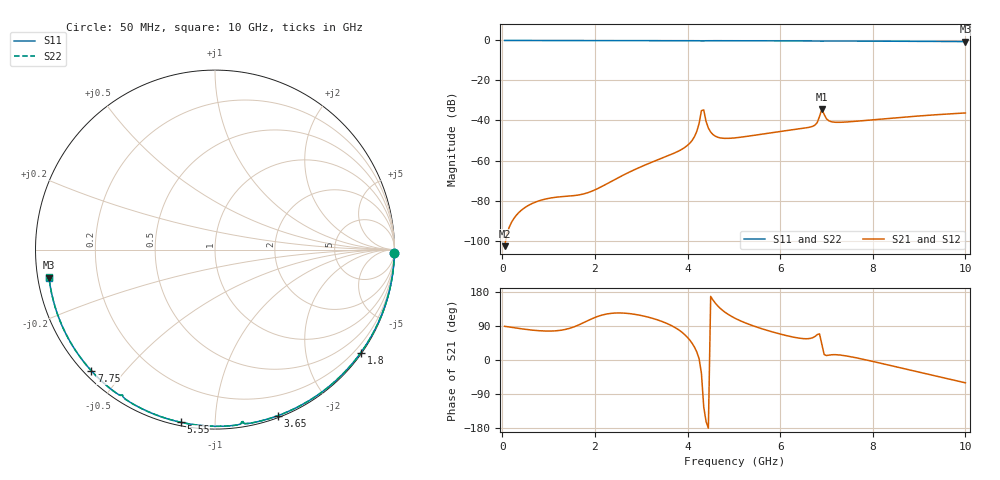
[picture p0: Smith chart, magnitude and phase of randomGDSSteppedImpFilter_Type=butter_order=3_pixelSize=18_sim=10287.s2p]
! freq	dB(S11)	phase(S11)	dB(S12)	phase(S12)
!  dB(S21)	phase(S21)	dB(S22)	phase(S22)
!S-par simulation data
#  GHz  S  DB  R 50
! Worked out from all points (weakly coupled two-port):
!   200 points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, 50 MHz to 10 GHz, reference 50 ohm
!   highest |S21| = -34.36 dB at 6.9 GHz (marker M1); lowest = -102.8 dB at 50 MHz (marker M2)
!   lowest |S11| = -0.6 dB at 10 GHz (marker M3), VSWR 31.09, Z = 1.62 - j4.21 ohm
!   |S11| at or under -10 dB: nowhere
!   |S22| runs from -0.6 to 0.0 dB; largest |S21 - S12| = 0
!   S11 on the Smith chart (normalised r, x): 50 MHz: open; 1.8 GHz: 0.03, -3.15; 3.65 GHz: 0.02, -1.45; 5.55 GHz: 0.02, -0.82; 7.75 GHz: 0.02, -0.41; 10 GHz: 0.03, -0.08
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0.05  -0.00 -1.0  -102.81 88.9  -102.81 88.9  -0.00 -1.0
0.8  -0.02 -15.9  -80.09 77.2  -80.09 77.2  -0.02 -15.9
1.75  -0.04 -34.3  -76.74 98.2  -76.74 98.2  -0.04 -34.3
1.8  -0.04 -35.3  -76.43 101.1  -76.43 101.1  -0.05 -35.3
3.4  -0.09 -64.9  -59.26 103.8  -59.26 103.8  -0.09 -64.9
3.65  -0.09 -69.3  -56.92 90.9  -56.92 90.9  -0.09 -69.4
4.1  -0.11 -77.3  -49.94 43.9  -49.94 43.9  -0.11 -77.4
4.2  -0.12 -79.2  -45.44 21.3  -45.44 21.3  -0.12 -79.2
4.3  -0.24 -81.3  -35.07 -35.1  -35.07 -35.1  -0.25 -81.4
4.35  -0.25 -80.7  -34.73 -123.9  -34.73 -123.9  -0.26 -80.7
4.45  -0.13 -82.8  -43.79 -179.9  -43.79 -179.9  -0.14 -82.8
4.55  -0.13 -84.6  -47.05 158.1  -47.05 158.1  -0.13 -84.6
5.05  -0.14 -93.1  -48.63 108.6  -48.63 108.6  -0.14 -93.1
5.55  -0.17 -101.2  -47.02 84.6  -47.02 84.6  -0.17 -101.3
6.7  -0.24 -119.6  -42.93 58.7  -42.93 58.7  -0.24 -119.6
6.8  -0.26 -121.2  -41.04 66.9  -41.04 66.9  -0.26 -121.3
6.9  -0.35 -122.4  -34.36 41.3  -34.36 41.3  -0.35 -122.5
7  -0.26 -123.8  -39.14 11.8  -39.14 11.8  -0.26 -123.9
7.1  -0.26 -125.5  -40.59 13.7  -40.59 13.7  -0.26 -125.6
7.75  -0.31 -135.5  -40.16 3.0  -40.16 3.0  -0.31 -135.6
8.35  -0.37 -144.7  -38.96 -13.6  -38.96 -13.6  -0.37 -144.8
10  -0.56 -170.4  -36.23 -60.2  -36.23 -60.2  -0.56 -170.5
